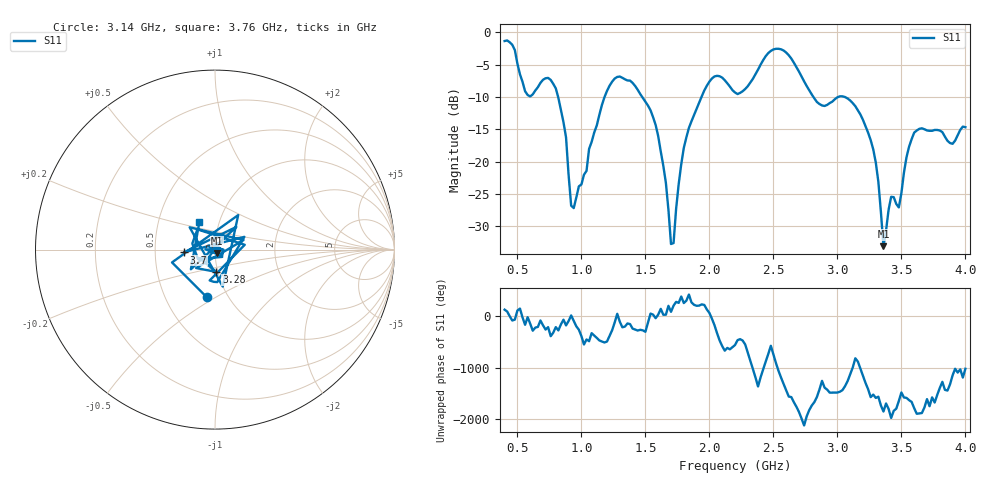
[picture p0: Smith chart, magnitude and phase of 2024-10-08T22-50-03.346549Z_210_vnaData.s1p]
! Created with skrf (http://scikit-rf.org).
# Hz S RI R 50.0
!freq ReS11 ImS11
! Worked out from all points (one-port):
!   181 points, 400 MHz to 4 GHz, reference 50 ohm
!   lowest |S11| = -33.0 dB at 3.36 GHz (marker M1), VSWR 1.05, Z = 51.2 - j1.9 ohm
!   |S11| at or under -10 dB: 818.4 MHz to 1.18 GHz (362 MHz wide, 36.2 % of centre); 1.475 GHz to 1.938 GHz (462.4 MHz wide, 27.1 % of centre); 3.06 GHz to end of sweep (the widest 3 of 4)
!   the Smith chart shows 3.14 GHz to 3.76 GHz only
!   S11 on the Smith chart (normalised r, x): 3.14 GHz: 0.80, -0.46; 3.28 GHz: 0.98, -0.25; 3.7 GHz: 0.70, -0.02; 3.76 GHz: 0.80, +0.25
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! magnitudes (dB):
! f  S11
! 400 MHz  -1.3
! 580 MHz  -9.7
! 760 MHz  -7.3
! 860 MHz  -13.9
! 920 MHz  -26.8
! 940 MHz  -27.2
! 1.18 GHz  -10.0
! 1.3 GHz  -6.8
! 1.58 GHz  -14.3
! 1.66 GHz  -23.3
! 1.7 GHz  -32.7
! 1.76 GHz  -23.5
! 1.84 GHz  -14.8
! 1.98 GHz  -8.2
! 2.2 GHz  -9.3
! 2.5 GHz  -2.6
! 2.66 GHz  -4.7
! 2.86 GHz  -11.1
! 3.1 GHz  -10.5
! 3.14 GHz  -11.4
! 3.28 GHz  -18.1
! 3.36 GHz  -33.0
! 3.42 GHz  -25.4
! 3.48 GHz  -27.1
! 3.56 GHz  -17.7
! 3.7 GHz  -15.2
! 3.76 GHz  -15.1
! 4 GHz  -14.7
